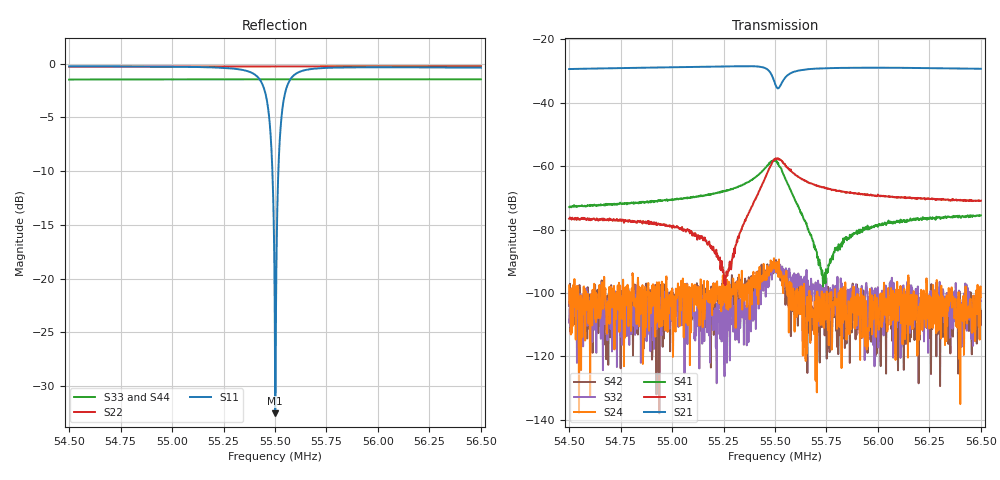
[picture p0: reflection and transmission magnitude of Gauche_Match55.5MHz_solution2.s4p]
#  HZ  S  DB  R  50.00
! Rohde & Schwarz Vector Network Analyzer
! Rohde-Schwarz,ZNB8-4Port,1311601044102961,2.82
! Created: UTC 1/15/2019, 2:27:12 PM
! freq[Hz]  db:S11  ang:S11  db:S12  ang:S12  db:S13  ang:S13  db:S14  ang:S14
!  db:S21  ang:S21  db:S22  ang:S22  db:S23  ang:S23  db:S24  ang:S24
!  db:S31  ang:S31  db:S32  ang:S32  db:S33  ang:S33  db:S34  ang:S34
!  db:S41  ang:S41  db:S42  ang:S42  db:S43  ang:S43  db:S44  ang:S44
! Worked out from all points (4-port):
!   1000 points, 54.5 MHz to 56.5 MHz, reference 50 ohm
!   strongest paths, dB at 54.5 MHz, 55.001 MHz, 55.501 MHz, 56.002 MHz, 56.5 MHz:
!     S21: -29.4, -28.8, -34.1, -29.0, -29.3
!     S31: -76.6, -79.5, -57.6, -69.3, -70.9
!     S41: -72.9, -70.8, -58.3, -78.8, -75.5
!     S24: -97.6, -98.7, -90.4, -108.9, -101.3
!     S32: -109.3, -105.8, -91.6, -117.2, -102.6
!     S42: -104.1, -98.6, -92.1, -100.5, -105.6
!   lowest |S11| = -32.5 dB at 55.501 MHz (marker M1), VSWR 1.05, Z = 48.5 + j1.8 ohm
!   |S11| at or under -10 dB: 55.48731 MHz to 55.51626 MHz (28.96 kHz wide, 0.0522 % of centre)
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5.45e7  -0.24 -55.5  -29.44 119.0  -76.25 -94.9  -72.76 -100.6
        -29.40 118.9  -0.27 113.5  -115.49 -82.8  -97.60 114.9
        -76.59 -96.4  -109.30 -110.8  -1.48 44.8  -108.85 114.3
        -72.91 -102.4  -104.07 147.9  -111.09 -60.8  -1.50 36.9
5.532883e7  -0.53 -112.4  -28.58 82.3  -81.16 32.1  -66.40 -137.9
            -28.52 82.3  -0.26 98.1  -105.13 -136.5  -101.42 82.6
            -81.14 34.0  -106.14 -21.7  -1.45 35.2  -112.84 110.3
            -66.29 -138.4  -97.43 37.5  -105.06 -108.8  -1.49 27.0
5.546096e7  -3.45 -152.5  -29.46 60.7  -62.36 2.0  -59.98 -173.4
            -29.42 60.6  -0.25 95.8  -95.14 -167.7  -91.44 33.2
            -62.39 1.9  -97.14 -142.5  -1.45 33.7  -102.03 174.8
            -60.00 -173.8  -92.34 48.3  -103.76 25.7  -1.49 25.4
5.5501e7  -32.54 128.2  -34.13 56.2  -57.78 -38.8  -58.25 142.5
          -34.11 56.3  -0.25 95.0  -92.19 -167.3  -90.36 -8.0
          -57.64 -41.4  -91.56 -172.7  -1.45 33.2  -105.04 -15.0
          -58.30 143.0  -92.07 -11.9  -113.47 -61.0  -1.49 24.9
5.554304e7  -3.28 -64.6  -32.74 95.0  -58.94 -87.0  -62.71 95.3
            -32.69 94.9  -0.25 94.3  -92.38 127.6  -94.53 -66.9
            -59.25 -85.3  -92.62 114.0  -1.45 32.7  -106.84 97.5
            -62.82 95.9  -94.06 -40.2  -110.41 -128.9  -1.49 24.4
5.566917e7  -0.51 -104.7  -29.45 83.4  -65.31 -122.5  -81.28 72.4
            -29.41 83.3  -0.25 92.0  -112.63 -6.6  -106.29 -76.8
            -65.41 -122.6  -101.29 133.3  -1.45 31.3  -102.91 -114.1
            -81.02 76.1  -100.86 -65.2  -108.82 -112.1  -1.49 22.9
5.65e7  -0.36 -166.7  -29.37 45.3  -70.74 -162.8  -75.71 -171.1
        -29.31 45.3  -0.23 77.5  -100.87 38.1  -101.33 79.2
        -70.91 -162.0  -102.56 76.1  -1.44 21.7  -104.88 -153.2
        -75.53 -167.4  -105.61 160.8  -102.30 -97.4  -1.49 12.9
